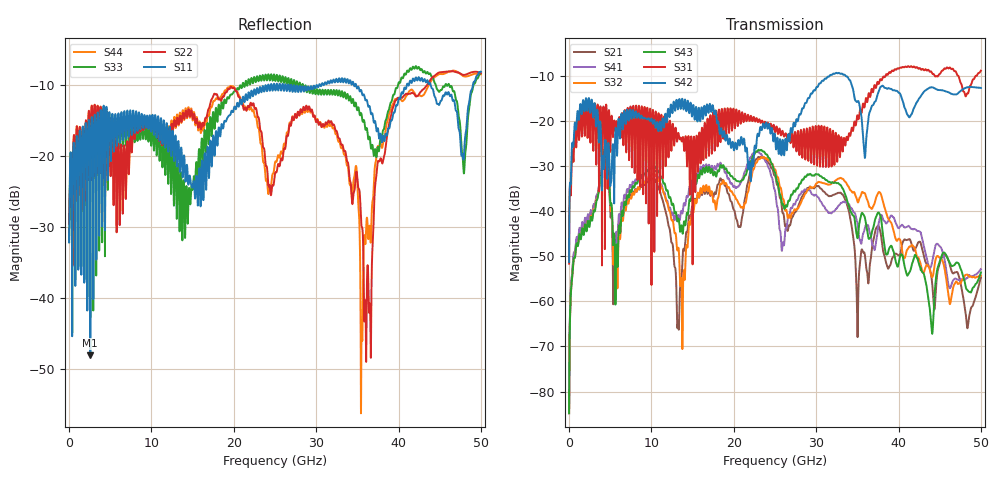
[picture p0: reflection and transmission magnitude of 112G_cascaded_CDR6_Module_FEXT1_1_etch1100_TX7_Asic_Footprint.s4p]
! Created Tue Feb 26 16:45:21 2019
# hz S ma R 50
! 4 Port Network Data from SP1.SP block
! freq  magS11  angS11  magS12  angS12  magS13  angS13  magS14  angS14
!  magS21  angS21  magS22  angS22  magS23  angS23  magS24  angS24
!  magS31  angS31  magS32  angS32  magS33  angS33  magS34  angS34
!  magS41  angS41  magS42  angS42  magS43  angS43  magS44  angS44
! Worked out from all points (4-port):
!   5000 points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, 10 MHz to 50 GHz, reference 50 ohm
!   strongest paths, dB at 10 MHz, 12.51 GHz, 25.01 GHz, 37.51 GHz, 50 GHz:
!     S42: -51.3, -18.1, -23.3, -13.9, -12.7
!     S31: -51.6, -22.3, -22.5, -11.5, -8.8
!     S43: -84.8, -38.6, -31.5, -40.4, -53.6
!     S32: -84.8, -42.1, -30.7, -36.0, -54.4
!     S41: -83.7, -40.7, -35.5, -43.9, -52.9
!     S21: -83.7, -47.1, -32.2, -43.2, -54.7
!   lowest |S11| = -48.1 dB at 2.58 GHz (marker M1), VSWR 1.01, Z = 49.6 + j0.137 ohm
!   |S11| at or under -10 dB: start of sweep to 24.18 GHz; 34.84 GHz to 41.01 GHz (6.17 GHz wide, 16.3 % of centre); 43.91 GHz to 49.04 GHz (5.128 GHz wide, 11 % of centre)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
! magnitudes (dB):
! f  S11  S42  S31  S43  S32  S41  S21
! 10 MHz  -32.2  -51.3  -51.6  -84.8  -84.8  -83.7  -83.7
! 2.58 GHz  -48.1  -18.2  -24.0  -41.8  -41.3  -40.5  -40.5
! 10.47 GHz  -14.3  -21.1  -18.9  -30.4  -32.1  -31.2  -33.4
! 13.27 GHz  -17.9  -16.9  -22.6  -41.7  -48.1  -40.8  -65.2
! 31.7 GHz  -9.5  -9.9  -21.8  -33.6  -34.1  -40.4  -36.6
! 36.01 GHz  -12.2  -26.1  -15.1  -42.3  -36.5  -43.1  -51.4
! 50 GHz  -8.1  -12.7  -8.8  -53.6  -54.4  -52.9  -54.7
